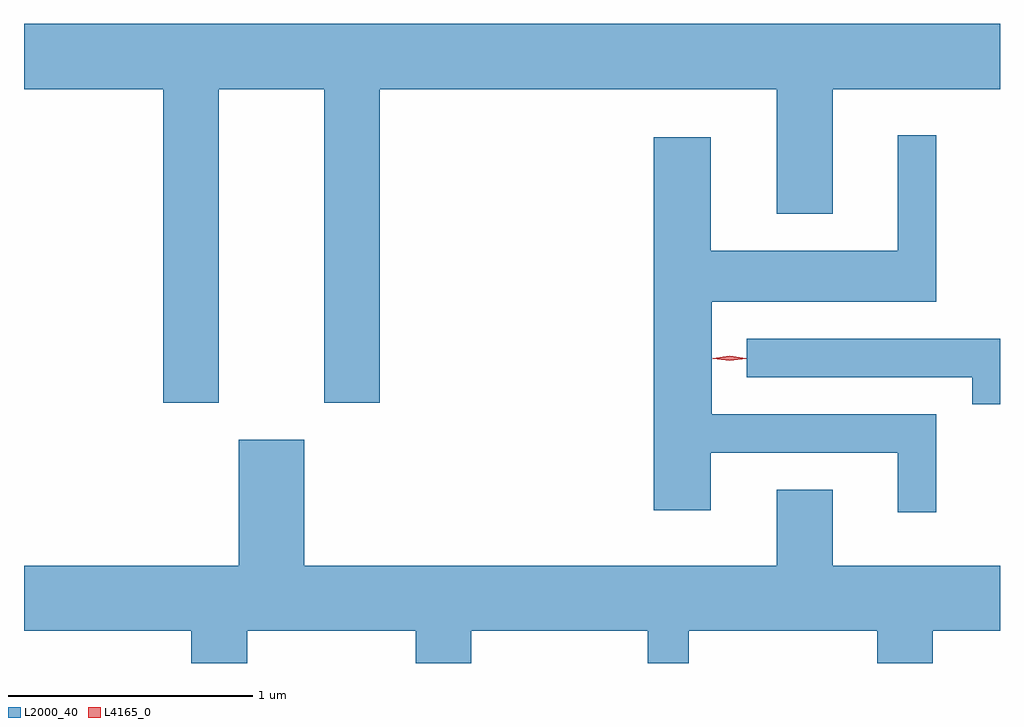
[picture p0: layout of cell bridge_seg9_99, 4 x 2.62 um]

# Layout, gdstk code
import gdstk
lib = gdstk.Library(unit=1e-6, precision=1e-09)
def P(c, l, *ps):  # polygons
    for p in ps: c.add(gdstk.Polygon(p, *l))
L2000_40 = (2000, 40)
L4165_0 = (4165, 0)

bridge_seg9_99 = lib.new_cell('bridge_seg9_99')
P(bridge_seg9_99, L2000_40, [(1784.164,1967.396),(1784.596,1967.396),(1784.596,1966.111),(1784.824,1966.111),(1784.824,1967.396),(1786.451,1967.396),(1786.451,1966.886),(1786.679,1966.886),(1786.679,1967.396),(1787.365,1967.396),(1787.365,1967.664),(1783.365,1967.664),(1783.365,1967.396),(1783.936,1967.396),(1783.936,1966.111),(1784.164,1966.111)],
  [(1787.104,1966.064),(1786.184,1966.064),(1786.184,1966.526),(1787.104,1966.526),(1787.104,1967.208),(1786.946,1967.208),(1786.946,1966.734),(1786.179,1966.734),(1786.179,1967.199),(1785.946,1967.199),(1785.946,1965.671),(1786.179,1965.671),(1786.179,1965.906),(1786.946,1965.906),(1786.946,1965.663),(1787.104,1965.663)],
  [(1787.365,1966.374),(1786.328,1966.374),(1786.328,1966.216),(1787.251,1966.216),(1787.251,1966.106),(1787.365,1966.106)],
  [(1784.279,1965.176),(1784.971,1965.176),(1784.971,1965.044),(1785.199,1965.044),(1785.199,1965.176),(1785.921,1965.176),(1785.921,1965.044),(1786.089,1965.044),(1786.089,1965.176),(1786.861,1965.176),(1786.861,1965.044),(1787.089,1965.044),(1787.089,1965.176),(1787.365,1965.176),(1787.365,1965.444),(1786.679,1965.444),(1786.679,1965.754),(1786.451,1965.754),(1786.451,1965.444),(1784.514,1965.444),(1784.514,1965.959),(1784.246,1965.959),(1784.246,1965.444),(1783.365,1965.444),(1783.365,1965.176),(1784.051,1965.176),(1784.051,1965.044),(1784.279,1965.044)])
P(bridge_seg9_99, L4165_0, [(1786.257,1966.283),(1786.188,1966.292),(1786.187,1966.293),(1786.188,1966.293),(1786.257,1966.303),(1786.326,1966.293),(1786.326,1966.293),(1786.326,1966.292)],
  [(1786.257,1966.283),(1786.191,1966.292),(1786.19,1966.293),(1786.191,1966.293),(1786.257,1966.303),(1786.322,1966.293),(1786.323,1966.293),(1786.322,1966.292)])

lib.write_gds('bridge_seg9_99.gds')
